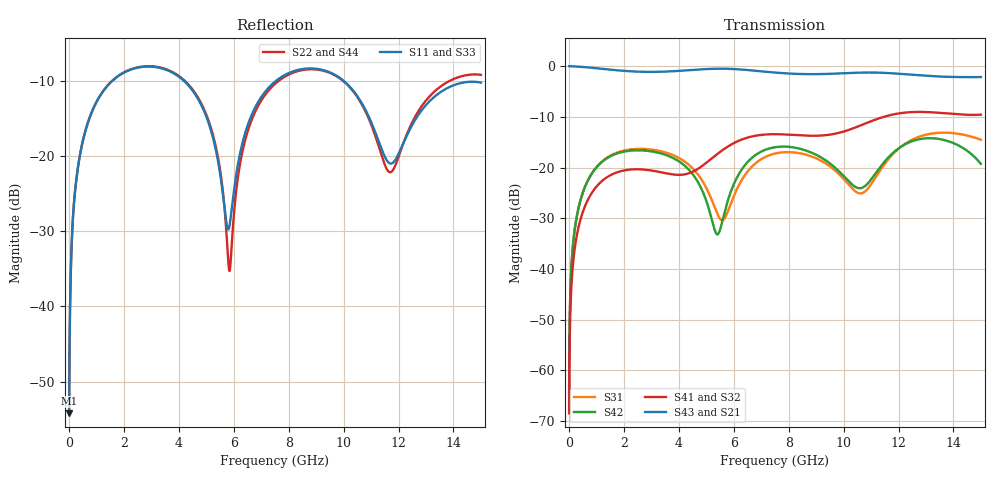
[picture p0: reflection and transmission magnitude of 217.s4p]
! Created with skrf 1.8.0 (http://scikit-rf.org).
# GHz S RI R 50.0
!freq ReS11 ImS11 ReS12 ImS12 ReS13 ImS13
! ReS14 ImS14
! ReS21 ImS21 ReS22 ImS22 ReS23 ImS23
! ReS24 ImS24
! ReS31 ImS31 ReS32 ImS32 ReS33 ImS33
! ReS34 ImS34
! ReS41 ImS41 ReS42 ImS42 ReS43 ImS43
! ReS44 ImS44
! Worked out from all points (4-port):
!   2499 points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, 5 MHz to 15 GHz, reference 50 ohm
!   strongest paths, dB at 5 MHz, 3.476 GHz, 7.19 GHz, 11.1 GHz, 15 GHz:
!     S43: 0.0, -1.1, -1.1, -1.3, -2.2
!     S21: 0.0, -1.1, -1.1, -1.3, -2.2
!     S41: -68.5, -21.1, -13.5, -10.7, -9.6
!     S32: -68.5, -21.1, -13.5, -10.7, -9.6
!     S42: -64.6, -17.4, -16.4, -21.6, -19.3
!     S31: -64.6, -17.0, -17.8, -22.5, -14.5
!   lowest |S11| = -54.2 dB at 5 MHz (marker M1), VSWR 1.00, Z = 50.2 + j0.118 ohm
!   |S11| at or under -10 dB: start of sweep to 1.569 GHz; 4.194 GHz to 7.528 GHz (3.334 GHz wide, 56.9 % of centre); 10.01 GHz to end of sweep
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0.005  0.00154 0.00118  0.9984 -0.00301  7.63e-05 0.000584  -7.43e-05 -0.00037
       0.9984 -0.00301  0.00154 0.00118  -7.43e-05 -0.00037  7.62e-05 0.000584
       7.63e-05 0.000584  -7.43e-05 -0.00037  0.00154 0.00118  0.9984 -0.00301
       -7.43e-05 -0.00037  7.62e-05 0.000584  0.9984 -0.00301  0.00154 0.00118
0.3126303  0.0217 0.0779  0.9705 -0.1875  0.00971 0.0349  -0.00793 -0.022
           0.9705 -0.1875  0.0217 0.0779  -0.00793 -0.022  0.00921 0.035
           0.00971 0.0349  -0.00793 -0.022  0.0217 0.0779  0.9705 -0.1875
           -0.00793 -0.022  0.00921 0.035  0.9705 -0.1875  0.0217 0.0779
1.569404  0.2555 0.1864  0.5806 -0.7118  0.1206 0.0577  -0.0849 -0.0113
          0.5806 -0.7118  0.2576 0.1852  -0.0849 -0.0113  0.1137 0.0663
          0.1206 0.0577  -0.0849 -0.0113  0.2555 0.1864  0.5806 -0.7118
          -0.0849 -0.0113  0.1137 0.0663  0.5806 -0.7118  0.2576 0.1852
5.846186  0.033 0.01  -0.9385 -0.0437  -0.0201 0.0354  -0.00287 0.1648
          -0.9385 -0.0437  0.0172 -0.00024  -0.00306 0.1648  0.0334 0.0414
          -0.0201 0.0354  -0.00306 0.1648  0.0323 0.0107  -0.9385 -0.0433
          -0.00287 0.1648  0.0334 0.0414  -0.9385 -0.0433  0.0179 0.000521
9.035015  0.3796 -0.0354  0.0222 0.8344  0.0905 -0.082  0.1995 -0.0511
          0.0222 0.8344  0.3762 -0.0276  0.1995 -0.0509  0.0932 -0.0938
          0.0905 -0.082  0.1995 -0.0509  0.3826 -0.0357  0.0222 0.8331
          0.1995 -0.0511  0.0932 -0.0938  0.0222 0.8331  0.3794 -0.0279
11.79241  0.0903 0.00105  0.8464 0.0567  0.0131 0.1346  0.0139 -0.3328
          0.8464 0.0567  0.08 0.00984  0.0149 -0.3334  -0.00941 0.1384
          0.0131 0.1346  0.0149 -0.3334  0.0867 -0.0052  0.8463 0.0587
          0.0139 -0.3328  -0.00941 0.1384  0.8463 0.0587  0.0845 0.00343
15  0.3078 -0.0267  0.00172 -0.7781  0.0878 -0.1662  -0.3292 0.0424
    0.00172 -0.7781  0.3459 -0.0402  -0.3296 0.0426  0.0842 -0.0689
    0.0878 -0.1662  -0.3296 0.0426  0.3032 -0.0208  0.000968 -0.7797
    -0.3292 0.0424  0.0842 -0.0689  0.000968 -0.7797  0.3414 -0.0468
